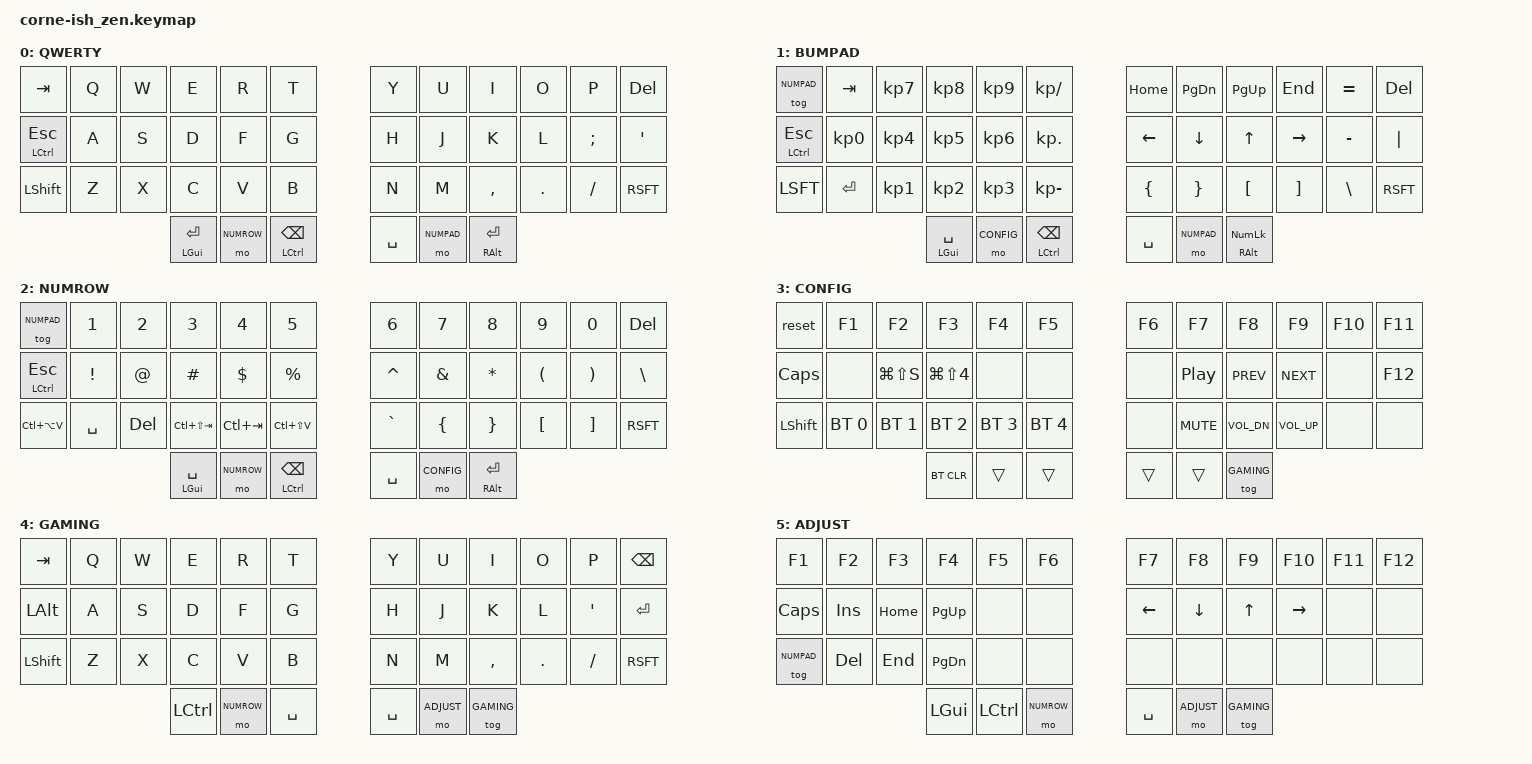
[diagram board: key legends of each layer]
/*
*
* Copyright (c) 2021 lowprokb.ca
* SPDX-License-Identifier: MIT
*
*/

#include <behaviors.dtsi>
#include <dt-bindings/zmk/keys.h>
#include <dt-bindings/zmk/bt.h>
#include <dt-bindings/zmk/outputs.h>

#define COMBO_TIMEOUT 50

#define QWERTY 0
#define NUMPAD 1
#define NUMROW 2
#define CONFIG 3
#define GAMING 4
#define ADJUST 5

&mt {
    quick-tap-ms = <200>;
};

/ {
    combos {
        compatible = "zmk,combos";
        combo_esc {
            timeout-ms = <COMBO_TIMEOUT>;
            key-positions = <0 1>;
            bindings = <&kp ESC>;
        };
		combo_dash {
			timeout-ms = <COMBO_TIMEOUT>;
			key-positions = <6 18>;
			layers = <0 1 2>;
			bindings = <&kp MINUS>;
		};
        combo_leftalt {
            timeout-ms = <COMBO_TIMEOUT>;
            key-positions = <12 24>;
            layers = <0>;
            bindings = <&kp LALT>;
        };        
        combo_rightctrl {
            timeout-ms = <COMBO_TIMEOUT>;
            key-positions = <23 35>;
            layers = <0>;
            bindings = <&kp RCTRL>;
        };     		
        combo_lefthandspace {
            timeout-ms = <COMBO_TIMEOUT>;
            key-positions = <29 37>;
            layers = <0>;
            bindings = <&kp SPC>;
		};
        combo_rightmonumrow {
            timeout-ms = <COMBO_TIMEOUT>;
            key-positions = <30 40>;
            layers = <0>;
            bindings = <&mo NUMROW>;
		};		
        combo_lefthanddel {
            timeout-ms = <COMBO_TIMEOUT>;
            key-positions = <5 17>;
            layers = <0>;
            bindings = <&kp DEL>;			
        }; 
        combo_delrow {
            timeout-ms = <COMBO_TIMEOUT>;
            key-positions = <3 15>;
            layers = <0 1>;
            bindings = <&kp LA(E)>;			
        };     		
		combo_numequal {
			timeout-ms = <COMBO_TIMEOUT>;
			key-positions = <4 5>;
			layers = <1>;
			bindings = <&kp KP_ASTERISK>;
		};
		combo_numplus {
			timeout-ms = <COMBO_TIMEOUT>;
			key-positions = <17 29>;
			layers = <1>;
			bindings = <&kp KP_PLUS>;
		};	
		combo_numast {
			timeout-ms = <COMBO_TIMEOUT>;
			key-positions = <5 17>;
			layers = <1>;
			bindings = <&kp EQUAL>;
		};
        combo_numlayer6 {
            timeout-ms = <COMBO_TIMEOUT>;
            key-positions = <1 13>;
            layers = <2>;
            bindings = <&kp N6>;
        };
        combo_numlayer7 {
            timeout-ms = <COMBO_TIMEOUT>;
            key-positions = <2 14>;
            layers = <2>;
            bindings = <&kp N7>;
        };   
        combo_numlayer8 {
            timeout-ms = <COMBO_TIMEOUT>;
            key-positions = <3 15>;
            layers = <2>;
            bindings = <&kp N8>;
        };   
        combo_numlayer9 {
            timeout-ms = <COMBO_TIMEOUT>;
            key-positions = <4 16>;
            layers = <2>;
            bindings = <&kp N9>;
        };   
        combo_numlayer0 {
            timeout-ms = <COMBO_TIMEOUT>;
            key-positions = <5 17>;
            layers = <2>;
            bindings = <&kp N0>;
        };    
        combo_pasteformat{
            timeout-ms = <COMBO_TIMEOUT>;
            key-positions = <28 29>;
            layers = <2>;
            bindings = <&kp LC(LA(V))>;
        };                                                       
    };
};

/ {
				
        keymap {
                compatible = "zmk,keymap";

                default_layer {
                        label = "QWERTY";
                        bindings = <
   &kp TAB      &kp Q &kp W &kp E &kp R &kp T    &kp Y &kp U &kp I    &kp O   &kp P    &kp DEL
   &mt LCTL ESC &kp A &kp S &kp D &kp F &kp G    &kp H &kp J &kp K    &kp L   &kp SEMI &kp APOS
   &kp LSHFT    &kp Z &kp X &kp C &kp V &kp B    &kp N &kp M &kp CMMA &kp DOT &kp FSLH &kp RSFT
                &mt LGUI ENTER &mo NUMROW &mt LCTL BSPC  &kp SPC &mo NUMPAD &mt RALT ENTER
                        >;
                };

                numpad_layer {
                        label = "BUMPAD";
                        bindings = < 
   &tog NUMPAD  &kp TAB   &kp KP_N7 &kp KP_N8 &kp KP_N9 &kp KP_SLASH    &kp HOME &kp PG_DN  &kp PG_UP &kp END   &kp EQUAL &kp DEL
   &mt LCTL ESC &kp KP_N0 &kp KP_N4 &kp KP_N5 &kp KP_N6 &kp KP_DOT      &kp LEFT &kp DOWN   &kp UP    &kp RIGHT &kp MINUS &kp PIPE
   &kp LSFT     &kp ENTER &kp KP_N1 &kp KP_N2 &kp KP_N3 &kp KP_MINUS    &kp LBRC &kp RBRC   &kp LBKT  &kp RBKT  &kp BSLH  &kp RSFT 
                                &mt LGUI SPC &mo CONFIG &mt LCTL BSPC   &kp SPC  &mo NUMPAD &mt RALT KP_NUMLOCK
                        >;
                };

                numrow_layer {
                        label = "NUMROW";
                        bindings = <
   &tog NUMPAD     &kp N1    &kp N2    &kp N3          &kp N4       &kp N5                  &kp N6    &kp N7   &kp N8   &kp N9   &kp N0   &kp DEL
   &mt LCTL ESC    &kp EXCL  &kp AT    &kp HASH        &kp DOLLAR   &kp PRCNT               &kp CARET &kp AMPS &kp STAR &kp LPAR &kp RPAR &kp BSLH
   &kp LC(LA(V))   &kp SPC &kp DEL     &kp LC(LS(TAB)) &kp LC(TAB)  &kp LC(LS(V))   &kp GRAVE &kp LBRC &kp RBRC &kp LBKT &kp RBKT &kp RSFT 
             &mt LGUI SPC &mo NUMROW &mt LCTL BSPC                   &kp SPC &mo CONFIG &mt RALT ENTER
                        >;
                };

                config_layer {
                        label = "CONFIG";
                        bindings = <
   &reset     &kp F1       &kp F2        &kp F3        &kp F4       &kp F5          &kp F6 &kp F7     &kp F8       &kp F9       &kp F10 &kp F11 
   &kp CAPS   &none        &kp LG(LS(S)) &kp LG(LS(4)) &none        &none           &none  &kp C_PP   &kp C_PREV   &kp C_NEXT   &none   &kp F12
   &kp LSHFT  &bt BT_SEL 0 &bt BT_SEL 1  &bt BT_SEL 2  &bt BT_SEL 3 &bt BT_SEL 4    &none  &kp C_MUTE &kp C_VOL_DN &kp C_VOL_UP &none   &none
                                         &bt BT_CLR &trans &trans              &trans &trans &tog GAMING
                        >;
                };
		
				gaming_layer {
                        label = "GAMING";
                        bindings = <
   &kp TAB   &kp Q &kp W &kp E &kp R &kp T    &kp Y &kp U &kp I    &kp O   &kp P    &kp BKSP
   &kp LALT  &kp A &kp S &kp D &kp F &kp G    &kp H &kp J &kp K    &kp L   &kp QUOT &kp ENTER
   &kp LSHFT &kp Z &kp X &kp C &kp V &kp B    &kp N &kp M &kp CMMA &kp DOT &kp FSLH &kp RSFT
               &kp LCTL &mo NUMROW &kp SPC    &kp SPC &mo ADJUST &tog GAMING
                        >;
                };
				
				adjust_layer {
                        label = "ADJUST";
                        bindings = <
   &kp F1      &kp F2  &kp F3   &kp F4    &kp F5 &kp F6    &kp F7   &kp F8   &kp F9 &kp F10   &kp F11 &kp F12
   &kp CAPS    &kp INS &kp HOME &kp PG_UP &none  &none     &kp LEFT &kp DOWN &kp UP &kp RIGHT &none   &none
   &tog NUMPAD &kp DEL &kp END  &kp PG_DN &none  &none     &none    &none    &none  &none     &none   &none
                           &kp LGUI &kp LCTL &mo NUMROW    &kp SPC &mo ADJUST &tog GAMING
                        >;
                };
        };
};


